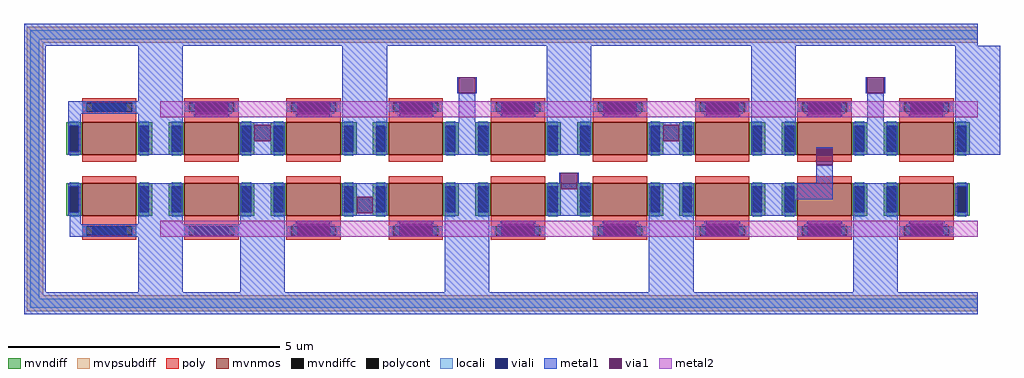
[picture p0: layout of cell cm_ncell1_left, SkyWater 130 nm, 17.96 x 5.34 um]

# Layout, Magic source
magic
tech sky130A
magscale 1 2
<< metal1 >>
rect -1849 799 -1843 859
rect -1783 799 -1777 859
rect -345 799 -339 859
rect -279 799 -273 859
rect -1843 573 -1783 799
rect -527 595 -467 601
rect -339 573 -279 799
rect -1473 447 -1467 507
rect -1407 447 -1401 507
rect -527 469 -467 535
rect -604 409 -467 469
<< via1 >>
rect -1843 799 -1783 859
rect -339 799 -279 859
rect -2595 623 -2535 683
rect -1091 623 -1031 683
rect -527 535 -467 595
rect -1467 447 -1407 507
rect -2219 359 -2159 419
use cm_ncell1_cell  cm_ncell1_cell_0
transform -1 0 137 0 1 -9
box -12 -4 3580 1064
<< end >>

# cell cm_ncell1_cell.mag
magic
tech sky130A
use cm_ncell1_4_2  cm_ncell1_4_2_0
transform 1 0 43 0 1 279
box -49 -281 785 253
use cm_ncell1_6_2  cm_ncell1_4_2_1
transform 1 0 795 0 1 279
box -49 -281 995 253
<< end >>

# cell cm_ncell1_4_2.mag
magic
tech sky130A
magscale 1 2
<< metal1 >>
rect -98 24 66 426
rect 278 24 442 144
rect 654 24 818 426
rect 1030 24 1194 144
rect 1406 24 1570 144
rect 278 -482 442 -80
rect 654 -200 818 -80
rect 1030 -482 1194 -80
rect 1406 -200 1570 -80
use cm_ncell1_4  cm_ncell1_4_0
transform 1 0 -5 0 1 -57
box -11 55 1493 563
use cm_ncell1_4  cm_ncell1_4_1
transform 1 0 -5 0 -1 1
box -11 55 1493 563
<< end >>

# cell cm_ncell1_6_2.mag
magic
tech sky130A
magscale 1 2
<< mvpsubdiff >>
rect 1488 436 1980 496
rect 1920 -492 1980 436
rect -16 -552 1980 -492
<< locali >>
rect 1488 449 1967 483
rect 1933 -505 1967 449
rect -16 -539 1967 -505
<< metal1 >>
rect 1488 426 1990 506
rect -98 24 66 426
rect 278 24 442 144
rect 654 24 818 426
rect 1406 222 1570 426
rect 1406 176 1828 222
rect 1030 24 1194 144
rect 1406 24 1570 176
rect 1782 144 1828 176
rect 278 -482 442 -80
rect 654 -200 818 -80
rect 1030 -232 1194 -80
rect 1406 -232 1570 -80
rect 1782 -232 1822 -200
rect 1030 -278 1822 -232
rect 1030 -482 1194 -278
rect 1406 -482 1570 -278
rect 1910 -482 1990 426
rect -16 -562 1990 -482
<< metal2 >>
rect -16 -278 1488 -218
use cm_ncell1_4  cm_ncell1_4_0
transform 1 0 -5 0 1 -57
box -11 55 1493 563
use cm_ncell_1  cm_ncell_1_0
transform -1 0 307 0 -1 -61
box -23 -7 293 227
use cm_ncell_1  cm_ncell_1_1
transform -1 0 683 0 -1 -61
box -23 -7 293 227
use cm_ncell_1  cm_ncell_1_2
transform -1 0 1059 0 -1 -61
box -23 -7 293 227
use sky130_fd_pr__nfet_g5v0d10v5_QKV39N  sky130_fd_pr__nfet_g5v0d10v5_QKV39N_0
transform 1 0 1676 0 1 115
box -158 -117 158 117
use sky130_fd_pr__nfet_g5v0d10v5_QKV39N  sky130_fd_pr__nfet_g5v0d10v5_QKV39N_1
transform -1 0 1300 0 -1 -171
box -158 -117 158 117
use sky130_fd_pr__nfet_g5v0d10v5_QKV39N  sky130_fd_pr__nfet_g5v0d10v5_QKV39N_3
transform -1 0 1676 0 -1 -171
box -158 -117 158 117
<< end >>

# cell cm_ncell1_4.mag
magic
tech sky130A
magscale 1 2
<< mvpsubdiff >>
rect -11 493 1493 553
<< locali >>
rect -11 506 1493 540
<< metal1 >>
rect -11 483 1493 563
use cm_ncell_4  cm_ncell_4_0 ~/10-bit-DAC/mag
transform 1 0 19 0 1 71
box -30 -16 1474 218
<< end >>

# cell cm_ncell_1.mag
magic
tech sky130A
magscale 1 2
<< metal1 >>
rect 69 157 75 217
rect 195 157 201 217
<< via1 >>
rect 75 157 195 217
<< metal2 >>
rect 69 157 75 217
rect 195 157 201 217
use sky130_fd_pr__nfet_g5v0d10v5_QKV39N  sky130_fd_pr__nfet_g5v0d10v5_QKV39N_0
transform 1 0 135 0 1 110
box -158 -117 158 117
<< end >>

# cell sky130_fd_pr__nfet_g5v0d10v5_QKV39N: kit device sky130_fd_pr__nfet_g5v0d10v5, w 0.6 l 1 m 1 nf 1 diffcov 100 polycov 100 guard 0 glc 1 grc 1 gtc 1 gbc 1 tbcov 100 rlcov 100 topc 1 botc 0 poverlap 0 doverlap 1 lmin 0.50 wmin 0.42 compatible {sky130_fd_pr__nfet_01v8 sky130_fd_pr__nfet_01v8_lvt sky130_fd_bs_flash__special_sonosfet_star sky130_fd_pr__nfet_g5v0d10v5 sky130_fd_pr__nfet_05v0_nvt sky130_fd_pr__nfet_03v3_nvt} full_metal 1 viasrc 100 viadrn 100 viagate 75 viagb 0 viagr 0 viagl 0 viagt 0

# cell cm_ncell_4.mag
magic
tech sky130A
magscale 1 2
use cm_ncell_2  cm_ncell_2_0
transform 1 0 4 0 1 -5
box -34 -11 718 223
use cm_ncell_2  cm_ncell_2_1
transform 1 0 756 0 1 -5
box -34 -11 718 223
<< end >>

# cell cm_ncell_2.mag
magic
tech sky130A
magscale 1 2
<< metal2 >>
rect -34 153 718 213
use cm_ncell_1  cm_ncell_1_0
transform 1 0 19 0 1 -4
box -23 -7 293 227
use cm_ncell_1  cm_ncell_1_1
transform 1 0 395 0 1 -4
box -23 -7 293 227
<< end >>
